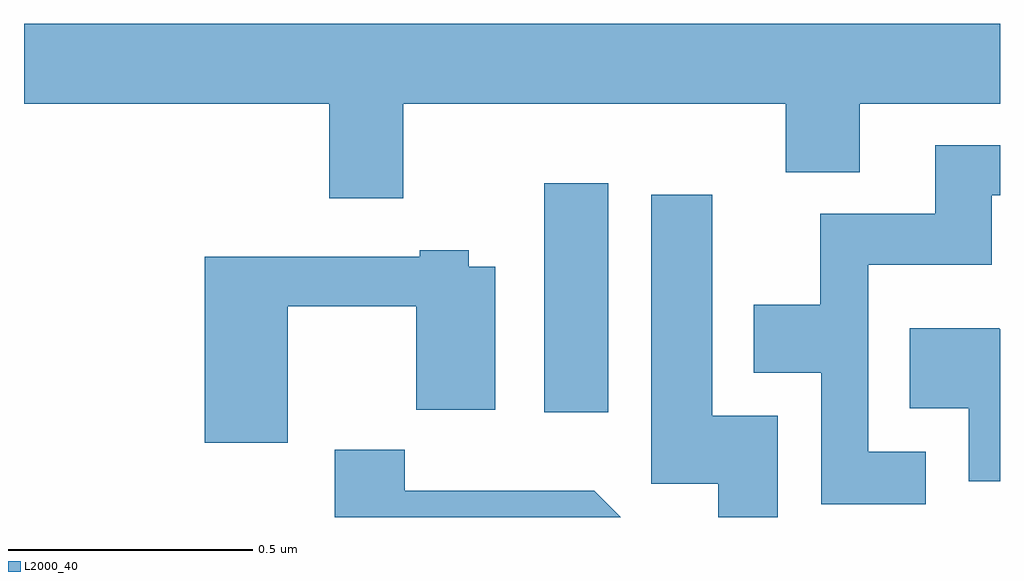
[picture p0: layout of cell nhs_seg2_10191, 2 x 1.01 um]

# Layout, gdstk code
import gdstk
lib = gdstk.Library(unit=1e-6, precision=1e-09)
def R(c, l, rs):  # rectangles x0, y0, x1, y1
    for r in rs: c.add(gdstk.rectangle(r[:2], r[2:], *l))
def P(c, l, *ps):  # polygons
    for p in ps: c.add(gdstk.Polygon(p, *l))
L2000_40 = (2000, 40)

nhs_seg2_10191 = lib.new_cell('nhs_seg2_10191')
R(nhs_seg2_10191, L2000_40, [(239.066,635.016,239.197,635.485)])
P(nhs_seg2_10191, L2000_40, [(238.777,635.648),(239.561,635.648),(239.561,635.507),(239.713,635.507),(239.713,635.648),(240,635.648),(240,635.812),(238,635.812),(238,635.648),(238.625,635.648),(238.625,635.454),(238.777,635.454)],
  [(239.848,634.935),(239.73,634.935),(239.73,635.318),(239.983,635.318),(239.983,635.46),(240,635.46),(240,635.563),(239.867,635.563),(239.867,635.422),(239.632,635.422),(239.632,635.236),(239.495,635.236),(239.495,635.096),(239.634,635.096),(239.634,634.827),(239.848,634.827)],
  [(239.545,635.008),(239.41,635.008),(239.41,635.461),(239.285,635.461),(239.285,634.869),(239.423,634.869),(239.423,634.8),(239.545,634.8)],
  [(238.54,635.233),(238.804,635.233),(238.804,635.021),(238.966,635.021),(238.966,635.314),(238.911,635.314),(238.911,635.347),(238.811,635.347),(238.811,635.334),(238.37,635.334),(238.37,634.953),(238.54,634.953)],
  [(240,635.186),(239.998,635.188),(239.815,635.188),(239.815,635.024),(239.936,635.024),(239.936,634.874),(240,634.874)],
  [(239.169,634.855),(238.78,634.855),(238.78,634.939),(238.637,634.939),(238.637,634.8),(239.223,634.8)])

lib.write_gds('nhs_seg2_10191.gds')
